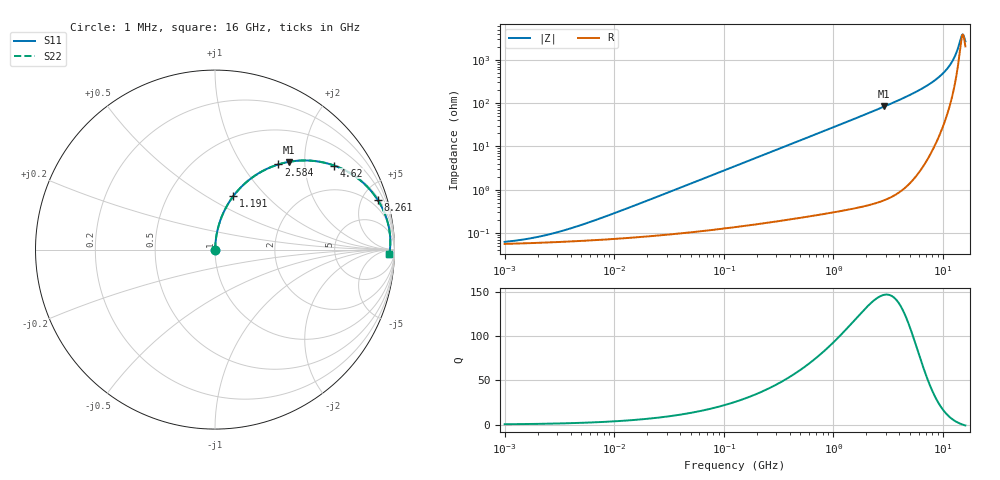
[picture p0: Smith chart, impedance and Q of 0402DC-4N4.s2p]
!AWR Design Environment (3650) Wed Mar 27 10:39:51 2019
!freq-unit  param-type  data-format  keyword  impedance-ohms
# MHz  S  MA  R  50
!Freq  MagS11  AngS11  MagS21  AngS21  MagS12  AngS12  MagS22  AngS22
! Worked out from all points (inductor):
!   801 points, 1 MHz to 16 GHz, reference 50 ohm
!   read as one part in series: L = 4.4 nH near 7.552 MHz
!   highest Q = 146 at 2.916 GHz (marker M1), where L = 4.57 nH
!   self-resonance near 15.2 GHz
!   S11 on the Smith chart (normalised r, x): 1 MHz: 1.00, +0.00; 1.191 GHz: 1.01, +0.66; 2.584 GHz: 1.01, +1.47; 4.62 GHz: 1.02, +2.82; 8.261 GHz: 1.19, +6.50; 16 GHz: 42, -34
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1  0.0006228 26.3  0.9994 -0.0  0.9994 -0.0  0.0006228 26.3
2.196615  0.0008506 45.5  0.9994 -0.0  0.9994 -0.0  0.0008506 45.5
5.064525  0.001545 64.8  0.9993 -0.1  0.9993 -0.1  0.001545 64.8
25.34076  0.007054 82.5  0.9991 -0.4  0.9991 -0.4  0.007054 82.5
126.7946  0.03501 85.8  0.998 -2.0  0.998 -2.0  0.03501 85.8
314.3635  0.08648 83.8  0.9944 -5.0  0.9944 -5.0  0.08648 83.8
642.1543  0.1747 79.1  0.9822 -10.1  0.9822 -10.1  0.1747 79.1
1190.652  0.3135 71.2  0.9465 -18.3  0.9465 -18.3  0.3135 71.2
1775.377  0.4442 63.2  0.8924 -26.4  0.8924 -26.4  0.4442 63.2
2583.931  0.5907 53.4  0.8028 -36.2  0.8028 -36.2  0.5907 53.4
2916.476  0.6399 49.8  0.7641 -39.8  0.7641 -39.8  0.6399 49.8
3213.071  0.6788 46.9  0.7297 -42.8  0.7297 -42.8  0.6788 46.9
4620.117  0.8123 35.2  0.5766 -54.3  0.5766 -54.3  0.8123 35.2
6329.282  0.8996 25.1  0.4242 -64.1  0.4242 -64.1  0.8996 25.1
8260.855  0.948 16.9  0.2916 -71.4  0.2916 -71.4  0.948 16.9
10026.49  0.9687 11.3  0.1968 -75.2  0.1968 -75.2  0.9687 11.3
11735.45  0.977 6.9  0.1218 -75.7  0.1218 -75.7  0.977 6.9
12928.91  0.9784 4.3  0.0774 -71.7  0.0774 -71.7  0.9784 4.3
14417.22  0.9767 1.4  0.0335 -45.3  0.0335 -45.3  0.9767 1.4
14770.56  0.9759 0.8  0.02744 -28.0  0.02744 -28.0  0.9759 0.8
15316.88  0.9743 -0.2  0.02597 7.5  0.02597 7.5  0.9743 -0.2
16000  0.9718 -1.3  0.03642 38.7  0.03642 38.7  0.9718 -1.3
